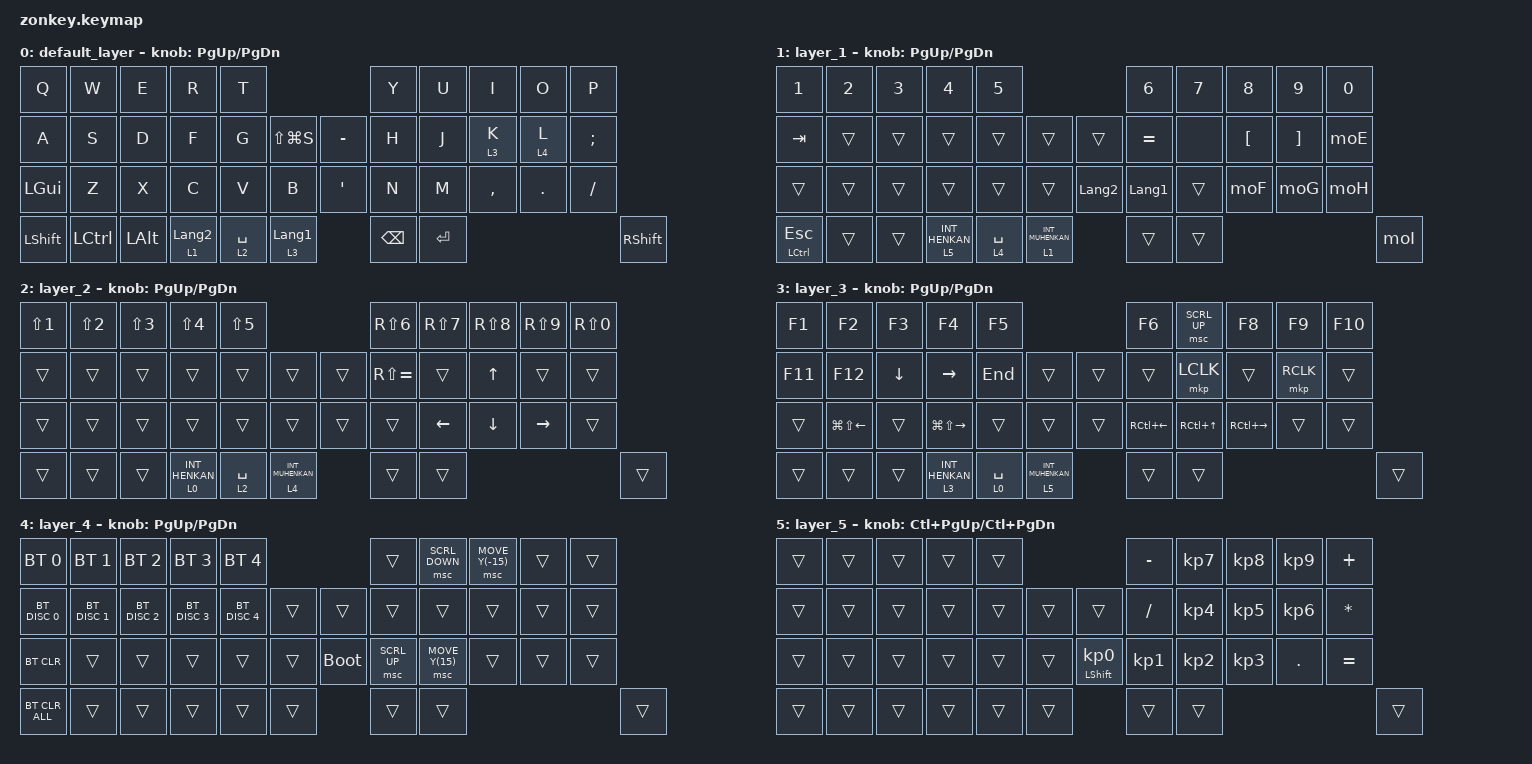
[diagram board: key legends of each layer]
#include <physical_layouts.dtsi>
#include <behaviors.dtsi>
#include <dt-bindings/zmk/bt.h>
#include <dt-bindings/zmk/keys.h>
#include <dt-bindings/zmk/pointing.h>

#define ZMK_POINTING_DEFAULT_SCRL_VAL 100
#define DFb 0
#define JIS 1
#define BT 4
#define MOUSE 6
#define JP_DQUOTE       AT                // "
#define JP_AMPERSAND    CARET             // &
#define JP_QUOTE        AMPERSAND         // '
#define JP_EQUAL        UNDER             // =
#define JP_CARET        EQUAL             // ^
#define JP_YEN          0x89              // ¥
#define JP_PLUS         COLON             // +
#define JP_TILDE        PLUS              // ~
#define JP_PIPE         LS(0x89)          // |
#define JP_AT           LEFT_BRACKET      // @
#define JP_COLON        SINGLE_QUOTE      // :
#define JP_ASTERISK     DOUBLE_QUOTES     // *
#define JP_BACKQUOTE    LEFT_BRACE        // `
#define JP_UNDERSCORE   LS(0x87)          // _
#define JP_LBRACKET     RIGHT_BRACKET     // [
#define JP_RBRACKET     BACKSLASH         // ]
#define JP_LPAREN       ASTERISK          // (
#define JP_RPAREN       LEFT_PARENTHESIS  // )
#define JP_LBRACE       RIGHT_BRACE       // {
#define JP_RBRACE       PIPE              // }
#define JP_KANA         LANGUAGE_1        // かな
#define JP_EISU         LANGUAGE_2        // 英数
#define JP_HANZEN       GRAVE             // 半角/全角
#define JP_BSLH  INT1         // (backslash)

&mt {
    flavor = "balanced";
    quick-tap-ms = <0>;
};

/ {
    combos { compatible = "zmk,combos"; };

    macros {
        to_layer_0: to_layer_0 {
            compatible = "zmk,behavior-macro-one-param";
            #binding-cells = <1>;
            bindings = <&to 0 &macro_param_1to1 &kp MACRO_PLACEHOLDER>;
            label = "TO_LAYER_0";
        };
    };

    behaviors {
        lt_to_layer_0: lt_to_layer_0 {
            compatible = "zmk,behavior-hold-tap";
            label = "LAYER_TAP_TO_0";
            bindings = <&mo>, <&to_layer_0>;

            #binding-cells = <2>;
            tapping-term-ms = <200>;
        };

        mo2: mo2 {
            compatible = "zmk,behavior-mod-morph";
            #binding-cells = <0>;
            bindings = <&kp N2>, <&kp AT>;

            mods = <(MOD_LSFT|MOD_RSFT)>;
        };

        mo6: mo6 {
            compatible = "zmk,behavior-mod-morph";
            #binding-cells = <0>;
            bindings = <&kp N6>, <&kp CARET>;

            mods = <(MOD_LSFT|MOD_RSFT)>;
        };

        mo7: mo7 {
            compatible = "zmk,behavior-mod-morph";
            #binding-cells = <0>;
            bindings = <&kp N7>, <&kp AMPS>;

            mods = <(MOD_LSFT|MOD_RSFT)>;
        };

        mo8: mo8 {
            compatible = "zmk,behavior-mod-morph";
            #binding-cells = <0>;
            bindings = <&kp N8>, <&kp ASTRK>;

            mods = <(MOD_LSFT|MOD_RSFT)>;
        };

        mo9: mo9 {
            compatible = "zmk,behavior-mod-morph";
            #binding-cells = <0>;
            bindings = <&kp N9>, <&kp LPAR>;

            mods = <(MOD_LSFT|MOD_RSFT)>;
        };

        mo0: mo0 {
            compatible = "zmk,behavior-mod-morph";
            #binding-cells = <0>;
            bindings = <&kp N0>, <&kp LS(N9)>;

            mods = <(MOD_LSFT|MOD_RSFT)>;
        };

        moA: moA {
            compatible = "zmk,behavior-mod-morph";
            #binding-cells = <0>;
            bindings = <&kp MINUS>, <&kp UNDERSCORE>;

            mods = <(MOD_LSFT|MOD_RSFT)>;
        };

        moB: moB {
            compatible = "zmk,behavior-mod-morph";
            #binding-cells = <0>;
            bindings = <&kp EQUAL>, <&kp PLUS>;

            mods = <(MOD_LSFT|MOD_RSFT)>;
        };

        moC: moC {
            compatible = "zmk,behavior-mod-morph";
            #binding-cells = <0>;
            bindings = <&kp INT3>, <&kp JP_PIPE>;

            mods = <(MOD_LSFT|MOD_RSFT)>;
        };

        moD: moD {
            compatible = "zmk,behavior-mod-morph";
            #binding-cells = <0>;
            bindings = <&kp LBKT>, <&kp LBRC>;

            mods = <(MOD_LSFT|MOD_RSFT)>;
        };

        moE: moE {
            compatible = "zmk,behavior-mod-morph";
            #binding-cells = <0>;
            bindings = <&kp RBKT>, <&kp RBRC>;

            mods = <(MOD_LSFT|MOD_RSFT)>;
        };

        moF: moF {
            compatible = "zmk,behavior-mod-morph";
            #binding-cells = <0>;
            bindings = <&kp SEMI>, <&kp KP_PLUS>;

            mods = <(MOD_LSFT|MOD_RSFT)>;
        };

        moG: moG {
            compatible = "zmk,behavior-mod-morph";
            #binding-cells = <0>;
            bindings = <&kp APOSTROPHE>, <&kp DQT>;

            mods = <(MOD_LSFT|MOD_RSFT)>;
        };

        moH: moH {
            compatible = "zmk,behavior-mod-morph";
            #binding-cells = <0>;
            bindings = <&kp BACKSLASH>, <&kp TILDE2>;

            mods = <(MOD_LSFT|MOD_RSFT)>;
        };

        moI: moI {
            compatible = "zmk,behavior-mod-morph";
            #binding-cells = <0>;
            bindings = <&kp JP_BSLH>, <&kp JP_UNDERSCORE>;

            mods = <(MOD_LSFT|MOD_RSFT)>;
        };

        scroll_up_down: behavior_sensor_rotate_mouse_wheel_up_down {
            compatible = "zmk,behavior-sensor-rotate";
            #sensor-binding-cells = <0>;
            bindings = <&msc SCRL_UP>, <&msc SCRL_DOWN>;

            tap-ms = <20>;
        };
    };

    keymap {
        compatible = "zmk,keymap";

        default_layer {
            bindings = <
&kp Q           &kp W      &kp E         &kp R             &kp T                                              &kp Y          &kp U      &kp I      &kp O    &kp P
&kp A           &kp S      &kp D         &kp F             &kp G        &kp LS(LG(S))       &kp MINUS         &kp H          &kp J      &lt 3 K    &lt 4 L  &kp SEMI
&kp LEFT_GUI    &kp Z      &kp X         &kp C             &kp V        &kp B               &kp SINGLE_QUOTE  &kp N          &kp M      &kp COMMA  &kp DOT  &kp SLASH
&kp LEFT_SHIFT  &kp LCTRL  &kp LEFT_ALT  &lt 1 LANGUAGE_2  &lt 2 SPACE  &lt 3 LANGUAGE_1                      &kp BACKSPACE  &kp ENTER                                 &kp RIGHT_SHIFT
            >;

            sensor-bindings = <&inc_dec_kp PAGE_UP PAGE_DOWN>;
        };

        layer_1 {
            bindings = <
&kp NUMBER_1  &kp NUMBER_2  &kp NUMBER_3  &kp NUMBER_4      &kp NUMBER_5                                     &kp NUMBER_6  &kp NUMBER_7  &kp NUMBER_8      &kp NUMBER_9       &kp NUMBER_0
&kp TAB       &trans        &trans        &trans            &trans        &trans                &trans       &kp EQUAL     &none         &kp LEFT_BRACKET  &kp RIGHT_BRACKET  &moE
&trans        &trans        &trans        &trans            &trans        &trans                &kp JP_EISU  &kp JP_KANA   &trans        &moF              &moG               &moH
&mt LCTL ESC  &trans        &trans        &lt 5 INT_HENKAN  &lt 4 SPACE   &lt 1 INT_MUHENKAN                 &trans        &trans                                                           &moI
            >;

            sensor-bindings = <&inc_dec_kp PAGE_UP PAGE_DOWN>;
        };

        layer_2 {
            bindings = <
&kp LS(NUMBER_1)  &kp LS(NUMBER_2)  &kp LS(NUMBER_3)  &kp LS(NUMBER_4)  &kp LS(NUMBER_5)                                &kp RS(NUMBER_6)  &kp RS(NUMBER_7)  &kp RS(NUMBER_8)  &kp RS(NUMBER_9)  &kp RS(NUMBER_0)
&trans            &trans            &trans            &trans            &trans            &trans                &trans  &kp RS(EQUAL)     &trans            &kp UP_ARROW      &trans            &trans
&trans            &trans            &trans            &trans            &trans            &trans                &trans  &trans            &kp LEFT_ARROW    &kp DOWN_ARROW    &kp RIGHT_ARROW   &trans
&trans            &trans            &trans            &lt 0 INT_HENKAN  &lt 2 SPACE       &lt 4 INT_MUHENKAN            &trans            &trans                                                                  &trans
            >;

            sensor-bindings = <&inc_dec_kp PAGE_UP PAGE_DOWN>;
        };

        layer_3 {
            bindings = <
&kp F1   &kp F2                  &kp F3          &kp F4                   &kp F5                                     &kp F6              &msc SCRL_UP      &kp F8               &kp F9     &kp F10
&kp F11  &kp F12                 &kp DOWN_ARROW  &kp RIGHT_ARROW          &kp END      &trans                &trans  &trans              &mkp LCLK         &trans               &mkp RCLK  &trans
&trans   &kp LG(LS(LEFT_ARROW))  &trans          &kp LG(LS(RIGHT_ARROW))  &trans       &trans                &trans  &kp RC(LEFT_ARROW)  &kp RC(UP_ARROW)  &kp RC(RIGHT_ARROW)  &trans     &trans
&trans   &trans                  &trans          &lt 3 INT_HENKAN         &lt 0 SPACE  &lt 5 INT_MUHENKAN            &trans              &trans                                                     &trans
            >;

            sensor-bindings = <&inc_dec_kp PAGE_UP PAGE_DOWN>;
        };

        layer_4 {
            bindings = <
&bt BT_SEL 0    &bt BT_SEL 1   &bt BT_SEL 2   &bt BT_SEL 3   &bt BT_SEL 4                          &trans        &msc SCRL_DOWN   &msc MOVE_Y(-15)  &trans  &trans
&bt BT_DISC 0   &bt BT_DISC 1  &bt BT_DISC 2  &bt BT_DISC 3  &bt BT_DISC 4  &trans    &trans       &trans        &trans           &trans            &trans  &trans
&bt BT_CLR      &trans         &trans         &trans         &trans         &trans    &bootloader  &msc SCRL_UP  &msc MOVE_Y(15)  &trans            &trans  &trans
&bt BT_CLR_ALL  &trans         &trans         &trans         &trans         &trans                 &trans        &trans                                             &trans
            >;

            sensor-bindings = <&inc_dec_kp PAGE_UP PAGE_DOWN>;
        };

        layer_5 {
            bindings = <
&trans  &trans  &trans  &trans  &trans                                        &kp MINUS        &kp KP_NUMBER_7  &kp KP_NUMBER_8  &kp KP_NUMBER_9  &kp PLUS
&trans  &trans  &trans  &trans  &trans  &trans    &trans                      &kp SLASH        &kp KP_NUMBER_4  &kp KP_NUMBER_5  &kp KP_NUMBER_6  &kp ASTERISK
&trans  &trans  &trans  &trans  &trans  &trans    &mt LEFT_SHIFT KP_NUMBER_0  &kp KP_NUMBER_1  &kp KP_NUMBER_2  &kp KP_NUMBER_3  &kp PERIOD       &kp EQUAL
&trans  &trans  &trans  &trans  &trans  &trans                                &trans           &trans                                                           &trans
            >;

            sensor-bindings = <&inc_dec_kp LC(PAGE_UP) LC(PAGE_DOWN)>;
        };
    };
};
